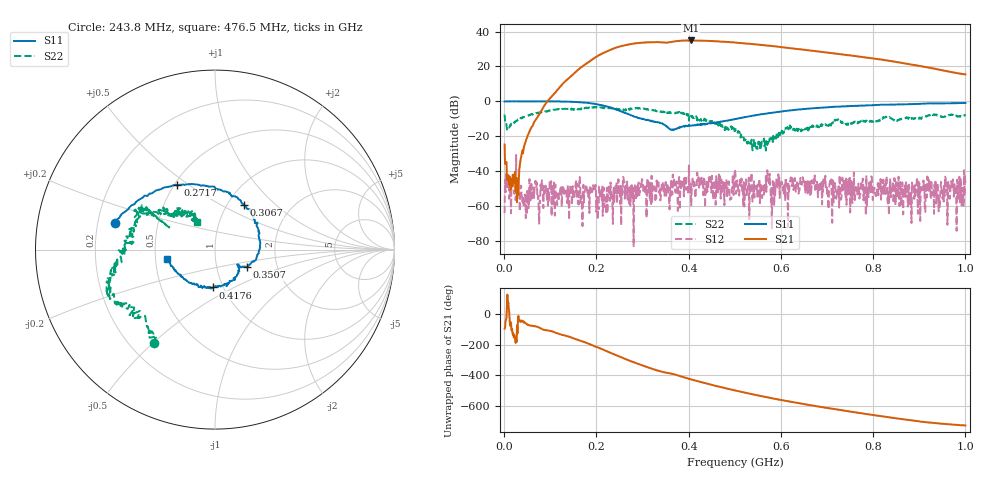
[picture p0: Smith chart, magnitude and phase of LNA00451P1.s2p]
! Created with skrf 1.9.0 (http://scikit-rf.org).
# Hz S RI R 50.0
!freq ReS11 ImS11 ReS21 ImS21 ReS12 ImS12 ReS22 ImS22
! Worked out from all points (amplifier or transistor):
!   1001 points, 1 MHz to 1 GHz, reference 50 ohm
!   highest |S21| = 34.9 dB at 404.6 MHz (marker M1)
!   |S21| within 3 dB of that: 257.4 MHz to 573.6 MHz (316.2 MHz wide, 76.1 % of centre)
!   unconditionally stable (mu >= 1): 212.8 MHz to 258.6 MHz; 299 MHz to 400.5 MHz; 400.7 MHz to end of sweep (the widest 3 of 46)
!   at 166.8 MHz: K = 1.92, MAG = 31.1 dB, |S12| = -53.8 dB
!   at 500.5 MHz: K = 1.12, MAG = 34.4 dB, |S12| = -39.2 dB
!   at 1 GHz: K = 2.69, MAG = 24.0 dB, |S12| = -46.9 dB
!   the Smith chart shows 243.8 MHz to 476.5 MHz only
!   S11 on the Smith chart (normalised r, x): 243.8 MHz: 0.27, +0.12; 271.7 MHz: 0.52, +0.45; 306.7 MHz: 1.20, +0.65; 350.6 MHz: 1.40, -0.28; 417.6 MHz: 0.89, -0.39; 476.5 MHz: 0.58, -0.06
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1000000  0.9983 0.0167  -0.00482 -0.0573  -1.96e-06 0.000629  0.322 0.2723
1.08892e8  0.5289 -0.8456  -0.7827 -1.481  -1.81e-05 0.00197  0.4312 -0.3694
1.67833e8  -0.2169 -0.9088  -9.661 -0.6454  -0.000575 -0.00124  0.0297 -0.6311
2.1079e8  -0.6766 -0.3862  -15.52 16.75  -0.00259 0.000262  -0.2253 -0.633
2.43757e8  -0.5559 0.15  -0.1982 35  -0.00235 -0.00417  -0.3384 -0.5215
2.71729e8  -0.2099 0.3584  24.09 35.76  -0.00368 -0.000552  -0.4892 -0.298
3.06694e8  0.1618 0.2472  46.76 14.07  -0.00261 0.000105  -0.5776 -0.1516
3.34666e8  0.2515 0.0121  48.84 -9.191  -0.00475 0.000766  -0.5227 0.00332
3.5065e8  0.1765 -0.0963  44.57 -18.57  0.000693 0.0048  -0.4647 0.0298
3.75625e8  0.1327 -0.1006  41.13 -34.82  -0.002 0.00135  -0.4241 0.1877
4.04596e8  0.0523 -0.1948  22.31 -50.94  0.00301 0.00307  -0.3112 0.1958
4.17583e8  -0.0126 -0.2111  12.26 -53.72  0.00252 0.003  -0.2562 0.1991
4.45555e8  -0.1568 -0.1732  -8.256 -53.04  0.00501 0.00581  -0.1881 0.191
4.76524e8  -0.265 -0.0506  -27.19 -43.2  0.00361 0.000602  -0.1001 0.1511
5.005e8  -0.2948 0.0854  -36.72 -31.94  0.00851 -0.00697  -0.0988 0.1002
5.32468e8  -0.2702 0.2574  -41.89 -14.97  0.00404 -0.00126  -0.0501 0.0445
5.63437e8  -0.1799 0.3994  -40.54 -0.321  -0.00181 -0.0011  -0.0838 -0.0202
6.11389e8  0.0324 0.5316  -30.54 15.85  0.00316 -0.00122  -0.1547 -0.0738
6.67333e8  0.3092 0.5486  -15.13 23.77  -0.00333 -0.00432  -0.1783 -0.0533
7.53247e8  0.622 0.386  3.13 20.14  -0.00164 -0.00397  -0.2363 -0.0208
8.34166e8  0.7874 0.1572  10.24 10.39  0.000206 0.000508  -0.3451 -0.00382
1e9  0.8188 -0.3725  5.876 -0.8477  -0.00225 0.00394  -0.2735 0.2712
